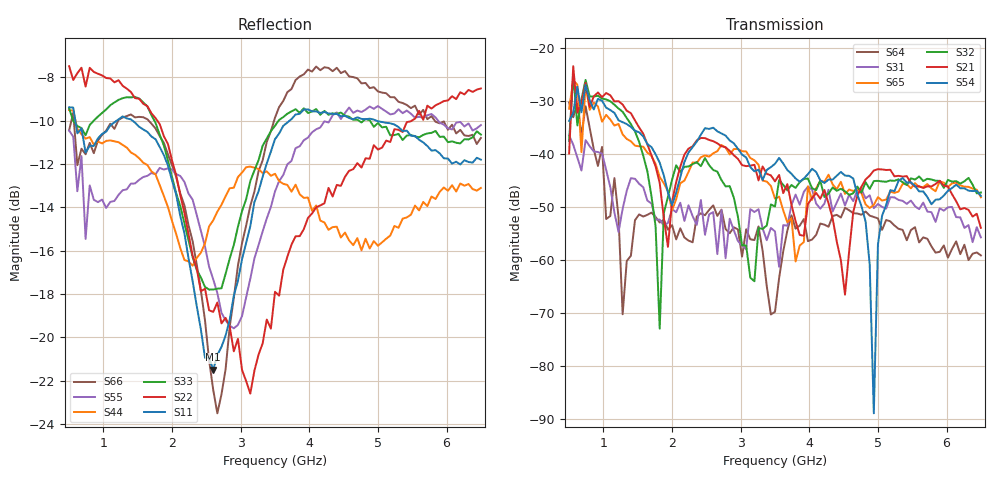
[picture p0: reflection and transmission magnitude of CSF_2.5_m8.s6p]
!Keysight Technologies,M9804A,MY58100912,A.14.10.03
!Date: Thursday, April 27, 2023 10:28:33
!Correction: S11(C  6-Port  )
!S12(C  6-Port  )
!S13(C  6-Port  )
!S14(C  6-Port  )
!S15(C  6-Port  )
!S16(C  6-Port  )
!S21(C  6-Port  )
!S22(C  6-Port  )
!S23(C  6-Port  )
!S24(C  6-Port  )
!S25(C  6-Port  )
!S26(C  6-Port  )
!S31(C  6-Port  )
!S32(C  6-Port  )
!S33(C  6-Port  )
!S34(C  6-Port  )
!S35(C  6-Port  )
!S36(C  6-Port  )
!S41(C  6-Port  )
!S42(C  6-Port  )
!S43(C  6-Port  )
!S44(C  6-Port  )
!S45(C  6-Port  )
!S46(C  6-Port  )
!S51(C  6-Port  )
!S52(C  6-Port  )
!S53(C  6-Port  )
!S54(C  6-Port  )
!S55(C  6-Port  )
!S56(C  6-Port  )
!S61(C  6-Port  )
!S62(C  6-Port  )
!S63(C  6-Port  )
!S64(C  6-Port  )
!S65(C  6-Port  )
!S66(C  6-Port  )
!S6P File: Measurement: :
# Hz S  RI  R 50
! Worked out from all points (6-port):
!   101 points, 500 MHz to 6.5 GHz, reference 50 ohm
!   strongest paths, dB at 500 MHz, 2 GHz, 3.5 GHz, 5 GHz, 6.5 GHz:
!     S54: -33.7, -49.6, -41.8, -57.0, -47.9
!     S21: -39.9, -49.0, -45.1, -42.8, -53.9
!     S32: -37.5, -44.8, -49.9, -45.0, -47.2
!     S65: -31.4, -50.6, -48.4, -48.1, -48.1
!     S31: -36.4, -50.4, -54.6, -49.4, -55.7
!     S64: -30.2, -53.4, -69.7, -52.1, -59.1
!   lowest |S11| = -21.5 dB at 2.6 GHz (marker M1), VSWR 1.18, Z = 42.5 + j2.17 ohm
!   |S11| at or under -10 dB: 590.2 MHz to 1.196 GHz (605.9 MHz wide, 67.8 % of centre); 1.422 GHz to 3.715 GHz (2.293 GHz wide, 89.3 % of centre); 4.972 GHz to end of sweep
